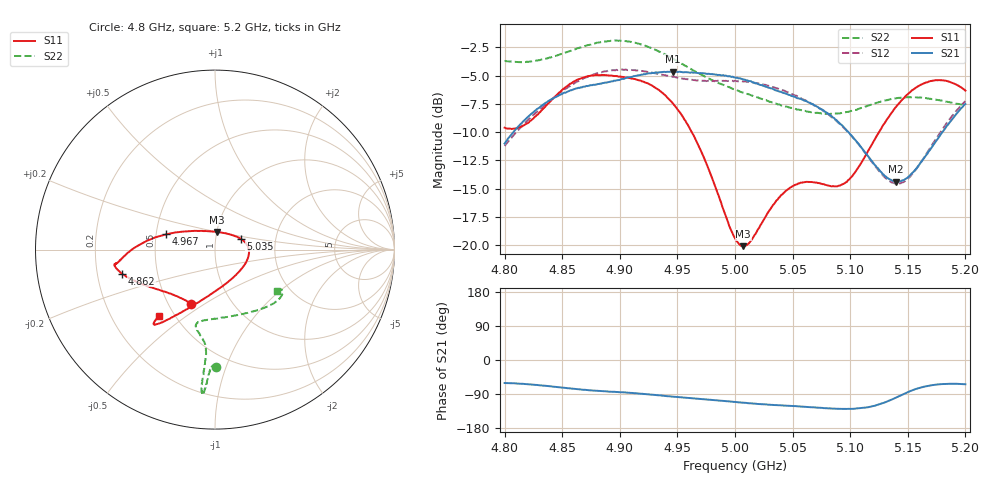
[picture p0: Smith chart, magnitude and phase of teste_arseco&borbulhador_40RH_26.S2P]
! Network Analyzer HP8722D
! Hewlett-Packard
! Data name: Linha & Wilkinson
! Saver's name: Rodrigo Anjos
! Comments: Teste da utilização de aquisição
! continua pelo VNA HP8722D
! Time and date: 15/4/2025 16:34
!  Frequency  S11  S21  S12  S22
# HZ  S  MA R 50
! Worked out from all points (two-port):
!   401 points, 4.8 GHz to 5.2 GHz, reference 50 ohm
!   highest |S21| = -4.63 dB at 4.946 GHz (marker M1); lowest = -14.4 dB at 5.14 GHz (marker M2)
!   |S21| within 3 dB of the highest: 4.832 GHz to 5.069 GHz (236.4 MHz wide, 4.78 % of centre); 5.198608 GHz to end of sweep
!   lowest |S11| = -20.1 dB at 5.007 GHz (marker M3), VSWR 1.22, Z = 50.1 + j9.94 ohm
!   |S11| at or under -10 dB: 4.962 GHz to 5.125 GHz (162.5 MHz wide, 3.22 % of centre)
!   |S22| runs from -8.4 to -1.9 dB; largest |S21 - S12| = 0.88
!   S11 on the Smith chart (normalised r, x): 4.8 GHz: 0.65, -0.44; 4.862 GHz: 0.31, -0.12; 4.967 GHz: 0.57, +0.10; 5.035 GHz: 1.32, +0.17; 5.2 GHz: 0.41, -0.40
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4.8e9  0.3311 -113.7  0.2814 -60.8  0.2747 -175.0  0.6536 -89.4
4.819e9  0.345 -133.5  0.3646 -63.6  0.3526 -173.3  0.6482 -91.1
4.862e9  0.5364 -165.5  0.4937 -76.7  0.5259 -176.4  0.7397 -93.4
4.867e9  0.5489 -167.4  0.499 -78.0  0.5419 -177.1  0.7526 -93.8
4.902e9  0.5555 -172.2  0.5442 -85.3  0.5998 175.4  0.803 -95.2
4.934e9  0.4857 -178.0  0.5819 -93.3  0.5727 171.9  0.7191 -95.5
4.946e9  0.4241 176.6  0.5869 -96.6  0.556 172.2  0.6695 -95.2
4.967e9  0.2851 162.7  0.5789 -102.0  0.5349 174.1  0.5813 -94.9
5e9  0.1072 107.8  0.5519 -110.6  0.5344 176.6  0.4886 -99.3
5.007e9  0.09886 83.9  0.5418 -112.6  0.5302 176.5  0.4733 -100.8
5.014e9  0.105 61.7  0.5308 -114.5  0.5262 176.2  0.4608 -102.5
5.035e9  0.1549 23.2  0.4848 -118.9  0.4966 175.1  0.4236 -103.9
5.05e9  0.1822 7.3  0.4567 -121.5  0.4655 174.7  0.4047 -100.5
5.067e9  0.1901 -11.1  0.4211 -124.9  0.4218 174.0  0.3875 -91.9
5.086e9  0.182 -41.5  0.3655 -128.2  0.3623 173.8  0.3822 -77.7
5.097e9  0.1903 -64.7  0.3218 -129.1  0.3205 174.3  0.3884 -68.6
5.134e9  0.3726 -116.0  0.1958 -107.1  0.192 -159.9  0.4414 -43.3
5.14e9  0.4108 -119.5  0.1906 -98.6  0.1877 -150.5  0.4465 -40.6
5.152e9  0.4754 -124.4  0.2038 -82.2  0.2007 -131.5  0.4514 -36.2
5.17e9  0.5326 -128.4  0.2672 -66.9  0.272 -112.9  0.4441 -32.0
5.184e9  0.5323 -129.8  0.3379 -63.0  0.3483 -107.2  0.4313 -31.1
5.2e9  0.4829 -130.3  0.4216 -64.0  0.434 -106.0  0.4151 -33.4
